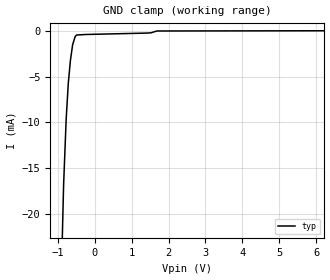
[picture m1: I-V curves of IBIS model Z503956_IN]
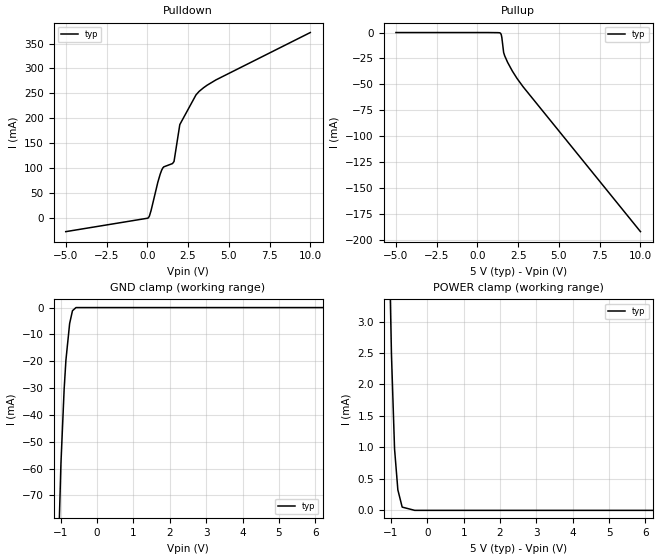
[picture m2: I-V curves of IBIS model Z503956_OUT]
| YOU ARE ONLY AUTHORIZED TO USE THIS SOFTWARE
| ACCORDING TO LICENSOR'S LICENSE RESTRICTIONS.
[IBIS Ver] 3.1
[File Name] mc74f10d.ibs
[File Rev] 2.0
[Source] Measured and created by ICX Technology
[Date] Friday 7/14/00 9:08:03 AM
[Copyright]
| (C) COPYRIGHT 1993-2000
| MENTOR GRAPHICS CORPORATION
| ICX STANDARD LIBRARY, ICX PROJECT MODELING,
| ICX CUSTOM MODELING, ICX VENDOR MODEL
| ALL RIGHTS RESERVED.
| THE FOLLOWING ARE TRADEMARKS OR SERVICE MARKS OF
| MENTOR GRAPHICS CORPORATION:ICX (R), ICX STANDARD
| LIBRARY(R), ICX PROJECT MODELING(R), ICX CUSTOM
| MODELING(R), qualityIBIS(TM), MODELVIEWER(TM),
| AND MODELEDITOR(TM)
| ALL COPIES OF SOFTWARE, INCLUDING BUT NOT LIMITED TO
| ANY MODIFICATIONS, ENHANCEMENTS OR DERIVATIVE WORKS,
| MUST CONTAIN ALL MENTOR GRAPHICS CORPORATION'S
| NOTICES AND LEGENDS, INCLUDING THOSE EMBEDDED IN
| SOFTWARE AND THOSE AFFIXED TO SOFTWARE MEDIUM
| AND CONTAINER, AS RECEIVED FROM MENTOR GRAPHICS
| CORPORATION.
|  ZAP Model Builder 2.7
[Component] MC74F10D
[Manufacturer] OnSemiconductor
[Package]
| variable   typ   min   max
R_pkg  .173ohms NA NA
L_pkg  3.883nH NA NA
C_pkg  .582pF NA NA
[Pin] signal_name  model_name  R_pin  L_pin C_pin
1 A Z503956_IN .178 4.437n .617p
2 B Z503956_IN .174 3.967n .587p
3 A Z503956_IN .17 3.507n .557p
4 B Z503956_IN .169 3.357n .55p
5 C Z503956_IN .17 3.507n .557p
6 Y Z503956_OUT .174 3.967n .587p
7 GROUND GND .178 4.437n .617p
8 Y Z503956_OUT .178 4.437n .617p
9 A Z503956_IN .174 3.967n .587p
10 B Z503956_IN .17 3.507n .557p
11 C Z503956_IN .169 3.357n .55p
12 Y Z503956_OUT .17 3.507n .557p
13 C Z503956_IN .174 3.967n .587p
14 VCC POWER .178 4.437n .617p
| Models and submodels in the file (2): Z503956_IN (Input), Z503956_OUT (Output)
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| (C) COPYRIGHT 1993-2000
| MENTOR GRAPHICS CORPORATION
| ICX STANDARD LIBRARY, ICX PROJECT MODELING,
| ICX CUSTOM MODELING, ICX VENDOR MODEL
| ALL RIGHTS RESERVED.
| THE FOLLOWING ARE TRADEMARKS OR SERVICE MARKS OF
| MENTOR GRAPHICS CORPORATION:ICX (R), ICX STANDARD
| LIBRARY(R), ICX PROJECT MODELING(R), ICX CUSTOM
| MODELING(R), qualityIBIS(TM), MODELVIEWER(TM),
| AND MODELEDITOR(TM)
| ALL COPIES OF SOFTWARE, INCLUDING BUT NOT LIMITED TO
| ANY MODIFICATIONS, ENHANCEMENTS OR DERIVATIVE WORKS,
| MUST CONTAIN ALL MENTOR GRAPHICS CORPORATION'S
| NOTICES AND LEGENDS, INCLUDING THOSE EMBEDDED IN
| SOFTWARE AND THOSE AFFIXED TO SOFTWARE MEDIUM
| AND CONTAINER, AS RECEIVED FROM MENTOR GRAPHICS
| CORPORATION.
| Model Application Version 1.89 2/18/99.
[Model] Z503956_IN
Model_type Input
Vinl = 800.0mV
Vinh = 2.000V
C_comp 4.000pF NA NA
| variable typ   min   max
[Voltage Range] 5.000V NA NA
[GND Clamp Reference] 0.000V NA NA
[POWER Clamp Reference] 5.000V NA NA
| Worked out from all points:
|   GND clamp passes 1 mA (typ) near -0.56 V on its own axis
[GND Clamp]
-5V       -695.2mA   NA         NA
-838.9mV  -16.78mA   NA         NA
-769.7mV  -9.624mA   NA         NA
-712.4mV  -5.714mA   NA         NA
-654.3mV  -3.2mA     NA         NA
-594.4mV  -1.5mA     NA         NA
-524.7mV  -602.3uA   NA         NA
-482.5mV  -450.2uA   NA         NA
1.411V    -241.3uA   NA         NA
1.527V    -211.6uA   NA         NA
1.685V    -12.5uA    NA         NA
10V       33.21uA    NA         NA
[POWER Clamp]
-5V       0A         NA         NA
10V       0A         NA         NA
| (C) COPYRIGHT 1993-2000
| MENTOR GRAPHICS CORPORATION
| ICX STANDARD LIBRARY, ICX PROJECT MODELING,
| ICX CUSTOM MODELING, ICX VENDOR MODEL
| ALL RIGHTS RESERVED.
| THE FOLLOWING ARE TRADEMARKS OR SERVICE MARKS OF
| MENTOR GRAPHICS CORPORATION:ICX (R), ICX STANDARD
| LIBRARY(R), ICX PROJECT MODELING(R), ICX CUSTOM
| MODELING(R), qualityIBIS(TM), MODELVIEWER(TM),
| AND MODELEDITOR(TM)
| ALL COPIES OF SOFTWARE, INCLUDING BUT NOT LIMITED TO
| ANY MODIFICATIONS, ENHANCEMENTS OR DERIVATIVE WORKS,
| MUST CONTAIN ALL MENTOR GRAPHICS CORPORATION'S
| NOTICES AND LEGENDS, INCLUDING THOSE EMBEDDED IN
| SOFTWARE AND THOSE AFFIXED TO SOFTWARE MEDIUM
| AND CONTAINER, AS RECEIVED FROM MENTOR GRAPHICS
| CORPORATION.
| Model Application Version 1.89 2/18/99.
[Model] Z503956_OUT
Model_type Output
Vref=0.000V
Rref=500.0ohms
Cref=50.00pF
Vmeas=1.500V
C_comp 8.000pF NA NA
| variable typ   min   max
[Voltage Range] 5.000V NA NA
[POWER Clamp Reference] 5.000V NA NA
[Pullup Reference] 5.000V NA NA
[Pulldown Reference] 0.000V NA NA
[GND Clamp Reference] 0.000V NA NA
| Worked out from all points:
|   slope of the pulldown table from 0 to 0.75 V, typ, clamps not added: 8.94 ohm
|   slope of the pullup table from 0 to 0.75 V, typ, clamps not added: 32.6 kohm
|   GND clamp passes 1 mA (typ) near -0.66 V on its own axis
|   POWER clamp passes 1 mA (typ) near -0.90 V on its own axis
[GND Clamp]
-5V       -2.588A    NA         NA
-1.102V   -108.3mA   NA         NA
-996.1mV  -58.13mA   NA         NA
-908.2mV  -30.51mA   NA         NA
-859.1mV  -19.6mA    NA         NA
-756.8mV  -5.943mA   NA         NA
-678.8mV  -1.18mA    NA         NA
-581.8mV  0A         NA         NA
10V       0A         NA         NA
[Pulldown]
-5V       -28.41mA   NA         NA
68.47mV   -484.6uA   NA         NA
234.3mV   14.14mA    NA         NA
649.4mV   71.12mA    NA         NA
884.7mV   95.44mA    NA         NA
1.015V    102mA      NA         NA
1.641V    112.7mA    NA         NA
1.997V    187.1mA    NA         NA
2.991V    246.9mA    NA         NA
3.457V    261.3mA    NA         NA
4.214V    277mA      NA         NA
10V       372.3mA    NA         NA
[Pullup]
-5V       10.95uA    NA         NA
624mV     10.95uA    NA         NA
1.416V    -662.7uA   NA         NA
1.46V     -2.033mA   NA         NA
1.495V    -4.619mA   NA         NA
1.606V    -19.21mA   NA         NA
1.67V     -22.41mA   NA         NA
1.846V    -28.66mA   NA         NA
2.139V    -37.14mA   NA         NA
2.427V    -44.3mA    NA         NA
2.803V    -52.42mA   NA         NA
10V       -192.3mA   NA         NA
[POWER Clamp]
-5V       336.4mA    NA         NA
-1.463V   24.35mA    NA         NA
-1.294V   13.67mA    NA         NA
-1.211V   9.863mA    NA         NA
-1.094V   5.525mA    NA         NA
-987mV    2.478mA    NA         NA
-902mV    978uA      NA         NA
-811mV    325.2uA    NA         NA
-692mV    51.57uA    NA         NA
-346mV    0A         NA         NA
10V       0A         NA         NA
[Ramp]
| variable typ min max
dV/dt_r 2.047/2.256n NA NA
dV/dt_f 2.047/386.2p NA NA
R_load = 500.0Ohms
